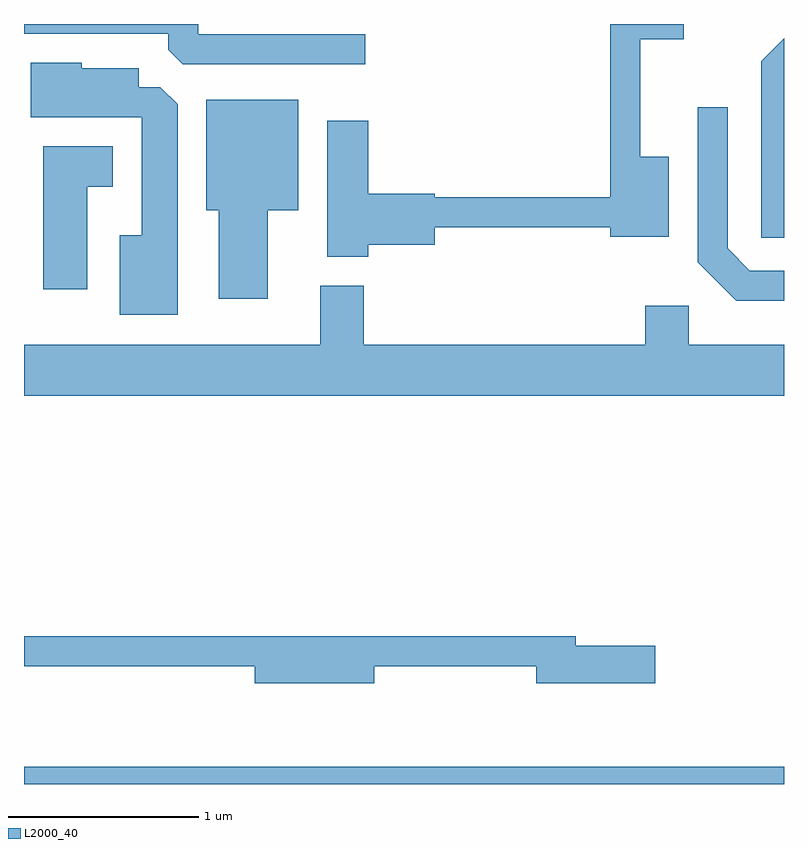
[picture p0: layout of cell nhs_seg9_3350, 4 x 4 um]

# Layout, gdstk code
import gdstk
lib = gdstk.Library(unit=1e-6, precision=1e-09)
def R(c, l, rs):  # rectangles x0, y0, x1, y1
    for r in rs: c.add(gdstk.rectangle(r[:2], r[2:], *l))
def P(c, l, *ps):  # polygons
    for p in ps: c.add(gdstk.Polygon(p, *l))
L2000_40 = (2000, 40)

nhs_seg9_3350 = lib.new_cell('nhs_seg9_3350')
R(nhs_seg9_3350, L2000_40, [(283.611,1996.432,287.611,1996.524)])
P(nhs_seg9_3350, L2000_40, [(285.408,2000.379),(284.529,2000.379),(284.529,2000.432),(283.611,2000.432),(283.611,2000.381),(284.371,2000.381),(284.371,2000.297),(284.447,2000.221),(285.408,2000.221)],
  [(285.424,1999.271),(285.774,1999.271),(285.774,1999.361),(286.696,1999.361),(286.696,1999.311),(287.004,1999.311),(287.004,1999.734),(286.854,1999.734),(286.854,2000.351),(287.083,2000.351),(287.083,2000.432),(286.696,2000.432),(286.696,1999.519),(285.774,1999.519),(285.774,1999.539),(285.424,1999.539),(285.424,1999.924),(285.206,1999.924),(285.206,1999.206),(285.424,1999.206)],
  [(287.611,2000.357),(287.491,2000.237),(287.491,1999.306),(287.611,1999.306)],
  [(284.419,2000.009),(284.329,2000.099),(284.214,2000.099),(284.214,2000.199),(283.914,2000.199),(283.914,2000.229),(283.646,2000.229),(283.646,1999.941),(284.231,1999.941),(284.231,1999.319),(284.116,1999.319),(284.116,1998.901),(284.419,1998.901)],
  [(284.894,1999.451),(285.054,1999.451),(285.054,2000.034),(284.571,2000.034),(284.571,1999.451),(284.636,1999.451),(284.636,1998.986),(284.894,1998.986)],
  [(287.611,1999.134),(287.432,1999.134),(287.314,1999.252),(287.314,1999.993),(287.156,1999.993),(287.156,1999.179),(287.359,1998.976),(287.611,1998.976)],
  [(283.944,1999.576),(284.079,1999.576),(284.079,1999.789),(283.711,1999.789),(283.711,1999.036),(283.944,1999.036)],
  [(287.611,1998.744),(287.109,1998.744),(287.109,1998.949),(286.881,1998.949),(286.881,1998.744),(285.399,1998.744),(285.399,1999.054),(285.171,1999.054),(285.171,1998.744),(283.611,1998.744),(283.611,1998.476),(287.611,1998.476)],
  [(285.454,1997.051),(286.306,1997.051),(286.306,1996.961),(286.934,1996.961),(286.934,1997.159),(286.514,1997.159),(286.514,1997.209),(283.611,1997.209),(283.611,1997.051),(284.826,1997.051),(284.826,1996.961),(285.454,1996.961)])

lib.write_gds('nhs_seg9_3350.gds')
